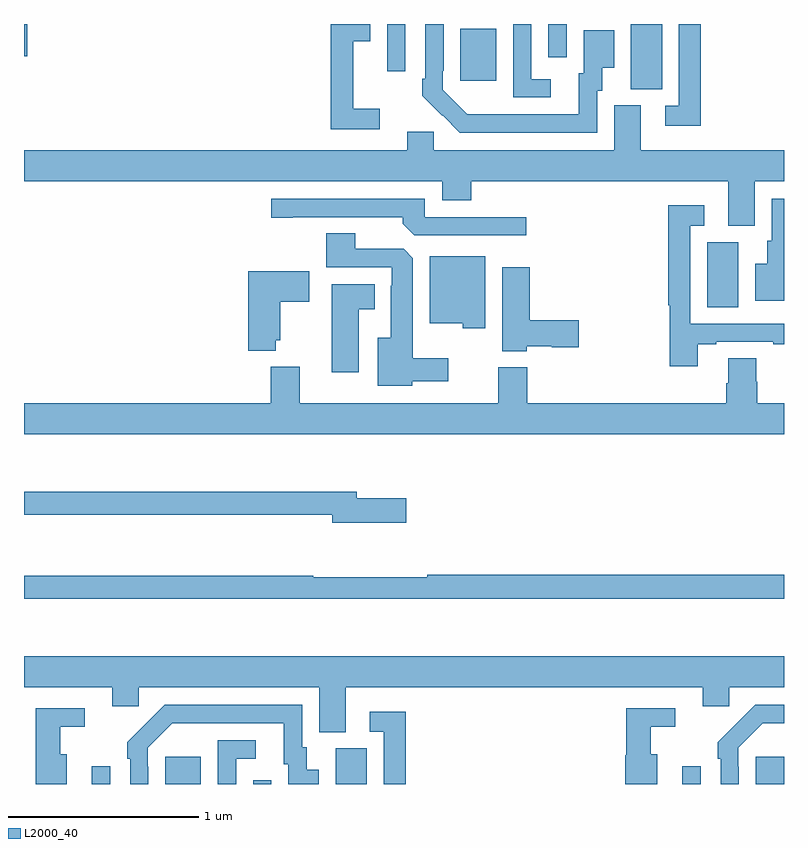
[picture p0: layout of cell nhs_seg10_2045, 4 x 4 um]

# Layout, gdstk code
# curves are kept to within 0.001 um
import gdstk
lib = gdstk.Library(unit=1e-6, precision=1e-09)
def R(c, l, rs):  # rectangles x0, y0, x1, y1
    for r in rs: c.add(gdstk.rectangle(r[:2], r[2:], *l))
def P(c, l, *ps):  # polygons
    for p in ps: c.add(gdstk.Polygon(p, *l))
L2000_40 = (2000, 40)

nhs_seg10_2045 = lib.new_cell('nhs_seg10_2045')
R(nhs_seg10_2045, L2000_40, [(219.357,1274.5,219.453,1274.593), (219.743,1274.5,219.931,1274.644), (220.206,1274.5,220.302,1274.521), (220.64,1274.5,220.804,1274.688), (222.465,1274.5,222.561,1274.593), (222.851,1274.5,223,1274.644), (222.596,1277.008,222.76,1277.352), (222.194,1278.157,222.358,1278.5), (221.297,1278.201,221.485,1278.475), (220.911,1278.252,221.007,1278.5), (221.76,1278.324,221.856,1278.5), (219,1278.329,219.016,1278.5)])
P(nhs_seg10_2045, L2000_40, [(222.563,1278.5),(222.447,1278.5),(222.447,1278.069),(222.375,1278.069),(222.375,1277.964),(222.563,1277.964)],
  [(222.018,1278.15),(222.043,1278.15),(222.043,1278.269),(222.106,1278.269),(222.106,1278.466),(221.945,1278.466),(221.945,1278.24),(221.921,1278.24),(221.921,1278.024),(221.334,1278.025),(221.205,1278.153),(221.205,1278.253),(221.208,1278.253),(221.208,1278.5),(221.112,1278.5),(221.112,1278.211),(221.097,1278.211),(221.097,1278.123),(221.294,1277.928),(222.018,1277.928)],
  [(221.773,1278.21),(221.67,1278.21),(221.67,1278.5),(221.574,1278.5),(221.574,1278.114),(221.773,1278.114)],
  [(220.873,1278.055),(220.733,1278.055),(220.733,1278.41),(220.822,1278.41),(220.822,1278.5),(220.615,1278.5),(220.615,1277.946),(220.873,1277.946)],
  [(222.847,1277.672),(223,1277.672),(223,1277.836),(222.247,1277.836),(222.247,1278.072),(222.107,1278.072),(222.107,1277.836),(221.157,1277.836),(221.157,1277.934),(221.018,1277.934),(221.018,1277.836),(219,1277.836),(219,1277.672),(221.201,1277.672),(221.201,1277.573),(221.354,1277.573),(221.354,1277.672),(222.707,1277.672),(222.707,1277.437),(222.847,1277.437)],
  [(223,1277.58),(222.936,1277.58),(222.936,1277.358),(222.911,1277.358),(222.911,1277.239),(222.848,1277.239),(222.848,1277.043),(223,1277.043)],
  [(221.644,1277.484),(221.109,1277.484),(221.109,1277.58),(220.302,1277.58),(220.302,1277.479),(220.414,1277.479),(220.414,1277.484),(220.994,1277.484),(220.994,1277.45),(221.055,1277.388),(221.644,1277.388)],
  [(222.547,1276.815),(222.643,1276.815),(222.643,1276.827),(222.943,1276.827),(222.943,1276.815),(223,1276.815),(223,1276.923),(222.507,1276.923),(222.507,1277.439),(222.58,1277.439),(222.58,1277.545),(222.391,1277.545),(222.391,1277.02),(222.399,1277.02),(222.399,1276.698),(222.547,1276.698)],
  [(221.043,1276.619),(221.233,1276.619),(221.233,1276.741),(221.047,1276.741),(221.047,1277.267),(220.998,1277.316),(220.744,1277.316),(220.744,1277.399),(220.592,1277.399),(220.592,1277.22),(220.935,1277.22),(220.935,1277.123),(220.931,1277.123),(220.931,1276.849),(220.862,1276.849),(220.862,1276.595),(221.043,1276.595)],
  [(221.428,1277.278),(221.135,1277.278),(221.135,1276.925),(221.31,1276.925),(221.31,1276.898),(221.428,1276.898)],
  [(221.646,1276.805),(221.777,1276.805),(221.777,1276.798),(221.92,1276.798),(221.92,1276.94),(221.663,1276.94),(221.663,1277.221),(221.516,1277.221),(221.516,1276.778),(221.646,1276.778)],
  [(220.326,1276.835),(220.348,1276.835),(220.348,1277.038),(220.501,1277.038),(220.501,1277.2),(220.181,1277.2),(220.181,1276.781),(220.326,1276.781)],
  [(220.762,1277),(220.846,1277),(220.846,1277.131),(220.619,1277.131),(220.619,1276.668),(220.762,1276.668)],
  [(222.707,1276.742),(222.707,1276.61),(222.695,1276.61),(222.695,1276.504),(221.648,1276.504),(221.648,1276.693),(221.495,1276.693),(221.495,1276.504),(220.45,1276.504),(220.45,1276.696),(220.298,1276.696),(220.298,1276.504),(219,1276.504),(219,1276.34),(223,1276.34),(223,1276.504),(222.86,1276.504),(222.86,1276.617),(222.855,1276.617),(222.855,1276.742)],
  [(221.011,1276.005),(220.75,1276.005),(220.75,1276.039),(219,1276.039),(219,1275.918),(220.622,1275.918),(220.622,1275.875),(221.011,1275.875)],
  [(223,1275.602),(221.122,1275.602),(221.122,1275.587),(220.522,1275.587),(220.522,1275.595),(219,1275.595),(219,1275.474),(223,1275.474)],
  [(220.693,1275.008),(222.572,1275.008),(222.572,1274.91),(222.711,1274.91),(222.711,1275.008),(223,1275.008),(223,1275.172),(219,1275.172),(219,1275.008),(219.464,1275.008),(219.464,1274.91),(219.603,1274.91),(219.603,1275.008),(220.553,1275.008),(220.553,1274.773),(220.693,1274.773)],
  [(219.654,1274.591),(219.651,1274.591),(219.651,1274.691),(219.78,1274.82),(220.367,1274.82),(220.367,1274.604),(220.391,1274.604),(220.391,1274.5),(220.552,1274.5),(220.552,1274.575),(220.489,1274.575),(220.489,1274.694),(220.464,1274.694),(220.464,1274.916),(219.74,1274.916),(219.543,1274.721),(219.543,1274.633),(219.558,1274.633),(219.558,1274.5),(219.654,1274.5)],
  [(222.762,1274.591),(222.759,1274.591),(222.759,1274.691),(222.888,1274.82),(223,1274.82),(223,1274.916),(222.848,1274.916),(222.651,1274.721),(222.651,1274.633),(222.666,1274.633),(222.666,1274.5),(222.762,1274.5)],
  [(219.226,1274.656),(219.19,1274.656),(219.19,1274.801),(219.319,1274.801),(219.319,1274.898),(219.061,1274.898),(219.061,1274.5),(219.226,1274.5)],
  [(222.334,1274.656),(222.298,1274.656),(222.298,1274.801),(222.427,1274.801),(222.427,1274.898),(222.169,1274.898),(222.169,1274.652),(222.164,1274.652),(222.164,1274.5),(222.334,1274.5)],
  [(221.009,1274.881),(220.821,1274.881),(220.821,1274.775),(220.893,1274.775),(220.893,1274.5),(221.009,1274.5)],
  [(220.116,1274.634),(220.219,1274.634),(220.219,1274.73),(220.02,1274.73),(220.02,1274.5),(220.116,1274.5)])

lib.write_gds('nhs_seg10_2045.gds')
